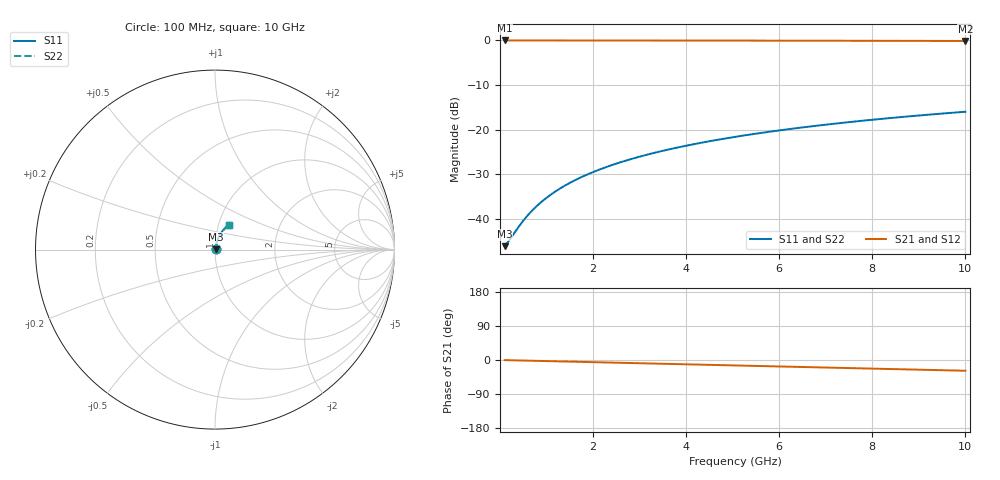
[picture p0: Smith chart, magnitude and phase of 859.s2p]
# Hz S RI R 50.00
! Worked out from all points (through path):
!   100 points, 100 MHz to 10 GHz, reference 50 ohm
!   highest |S21| = -0.04 dB at 100 MHz (marker M1); lowest = -0.2 dB at 10 GHz (marker M2)
!   group delay of S21, straight-line fit = 7.88 ps
!   lowest |S11| = -46.1 dB at 100 MHz (marker M3), VSWR 1.01, Z = 50.5 + j0.166 ohm
!   |S11| at or under -10 dB: start of sweep to end of sweep
!   |S22| runs from -46.1 to -16.0 dB; largest |S21 - S12| = 0
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1e8  0.0047 0.00164  0.9953 -0.00494  0.9953 -0.00494  0.0047 0.00164
2e8  0.00476 0.00328  0.9952 -0.00989  0.9952 -0.00989  0.00476 0.00328
4e8  0.00489 0.00656  0.995 -0.0198  0.995 -0.0198  0.00489 0.00656
5e8  0.00498 0.00819  0.9949 -0.0247  0.9949 -0.0247  0.00498 0.00819
6e8  0.00508 0.00983  0.9947 -0.0297  0.9947 -0.0297  0.00508 0.00983
7e8  0.0052 0.0115  0.9945 -0.0346  0.9945 -0.0346  0.0052 0.0115
8e8  0.00533 0.0131  0.9943 -0.0395  0.9943 -0.0395  0.00533 0.0131
1e9  0.00565 0.0164  0.9938 -0.0494  0.9938 -0.0494  0.00565 0.0164
1.2e9  0.00602 0.0196  0.9932 -0.0593  0.9932 -0.0593  0.00602 0.0196
1.5e9  0.0067 0.0245  0.992 -0.0741  0.992 -0.0741  0.0067 0.0245
1.8e9  0.00752 0.0293  0.9906 -0.0888  0.9906 -0.0888  0.00752 0.0293
2.1e9  0.00849 0.0341  0.989 -0.1036  0.989 -0.1036  0.00849 0.0341
2.5e9  0.00999 0.0405  0.9865 -0.1231  0.9865 -0.1231  0.00999 0.0405
2.9e9  0.0118 0.0468  0.9835 -0.1427  0.9835 -0.1427  0.0118 0.0468
3.4e9  0.0143 0.0546  0.9793 -0.167  0.9793 -0.167  0.0143 0.0546
4.2e9  0.0192 0.0667  0.971 -0.2055  0.971 -0.2055  0.0192 0.0667
5.1e9  0.0257 0.0798  0.9598 -0.2483  0.9598 -0.2483  0.0257 0.0798
5.9e9  0.0326 0.0909  0.9481 -0.2858  0.9481 -0.2858  0.0326 0.0909
6.7e9  0.0402 0.1014  0.9348 -0.3226  0.9348 -0.3226  0.0402 0.1014
7.5e9  0.0487 0.1113  0.9199 -0.3587  0.9199 -0.3587  0.0487 0.1113
8.4e9  0.0591 0.1216  0.9015 -0.3985  0.9015 -0.3985  0.0591 0.1216
1e10  0.0796 0.1373  0.8643 -0.4663  0.8643 -0.4663  0.0796 0.1373
